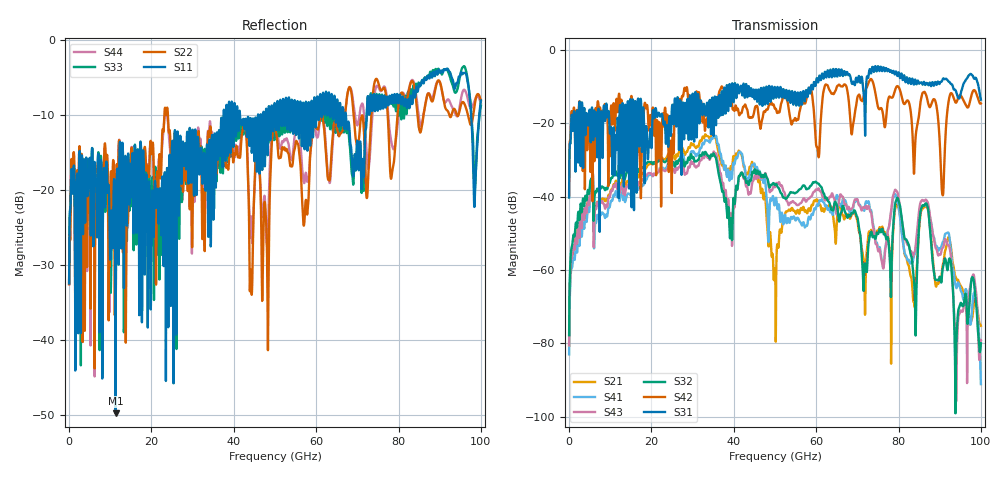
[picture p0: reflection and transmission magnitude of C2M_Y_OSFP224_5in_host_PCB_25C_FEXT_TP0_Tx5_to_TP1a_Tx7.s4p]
# GHz S RI R 45
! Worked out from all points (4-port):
!   4000 points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, 25 MHz to 100 GHz, reference 45 ohm
!   strongest paths, dB at 25 MHz, 25.02 GHz, 50.02 GHz, 75.03 GHz, 100 GHz:
!     S31: -40.2, -15.3, -10.4, -4.4, -13.6
!     S42: -39.6, -29.2, -16.0, -15.6, -14.6
!     S32: -77.8, -30.5, -36.8, -50.2, -80.0
!     S43: -80.5, -32.4, -37.4, -54.8, -79.1
!     S41: -83.0, -30.8, -41.8, -54.1, -91.1
!     S21: -80.6, -28.5, -60.3, -49.6, -75.2
!   lowest |S11| = -49.8 dB at 11.3 GHz (marker M1), VSWR 1.01, Z = 44.7 + j0.131 ohm
!   |S11| at or under -10 dB: start of sweep to 37.51 GHz; 41.51 GHz to 45.91 GHz (4.397 GHz wide, 10.1 % of centre); 67.23 GHz to 72.29 GHz (5.064 GHz wide, 7.26 % of centre) (the widest 3 of 40)
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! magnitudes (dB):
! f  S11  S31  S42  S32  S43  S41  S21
! 25 MHz  -32.4  -40.2  -39.6  -77.8  -80.5  -83.0  -80.6
! 11.3 GHz  -49.8  -24.1  -18.4  -33.2  -36.5  -38.7  -35.8
! 34.95 GHz  -17.1  -15.6  -14.2  -28.5  -28.3  -23.8  -23.4
! 49.88 GHz  -8.5  -10.2  -15.7  -36.7  -37.4  -42.4  -60.1
! 83.72 GHz  -6.7  -9.5  -33.4  -62.4  -55.4  -56.2  -68.7
! 86.62 GHz  -5.3  -9.4  -12.1  -41.9  -40.8  -41.8  -42.3
! 100 GHz  -8.1  -13.6  -14.6  -80.0  -79.1  -91.1  -75.2
